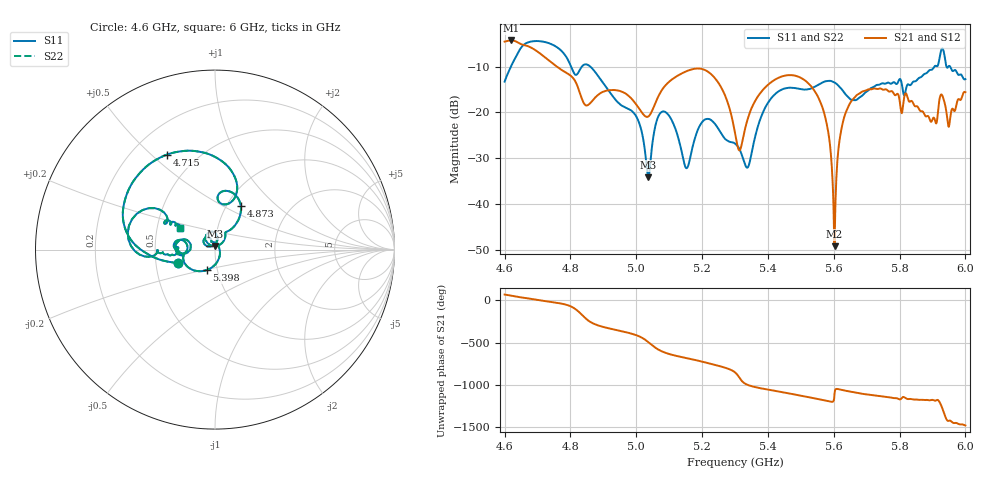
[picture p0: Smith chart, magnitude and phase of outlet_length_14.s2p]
! TOUCHSTONE file generated by CST MICROWAVE STUDIO
! Date and time: Mon Dec  2 04:50:26 2024
! Project name: test_tuning.cst
! Parameters = {airCoaxOuterDiameter=3; chamferAngle=45; chamferWidth=24; connectorLength=10; drillingHoleDiameter=4.1; feedLength=60; flareDiameter=130; flareLength=70; gratingDistance=0; gratingGap=1.90274; outletLength=110; polarizerLength=134; probe1Diameter=1.3; probe1Distance=14; probe1Length=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
! Header version: 2024
! Port assignment regex: !\s*Touchstone port\s*([0-9]+)\s*=\s*(CST MWS port|CST DES external port|CST DES block port)\s*(.+)\s* \(\"(.*)\"\)(\s*mode\s*([0-9]+))?.*
! Touchstone port assignment:
! Touchstone port 1 = CST MWS port 1 ("Input1")
! Touchstone port 2 = CST MWS port 2 ("Input2")
# GHz S MA R 50
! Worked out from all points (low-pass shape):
!   1001 points, 4.6 GHz to 6 GHz, reference 50 ohm
!   highest |S21| = -4.31 dB at 4.62 GHz (marker M1); lowest = -49.2 dB at 5.602 GHz (marker M2)
!   |S21| within 3 dB of the highest: start of sweep to 4.711 GHz
!   lowest |S11| = -34.2 dB at 5.037 GHz (marker M3), VSWR 1.04, Z = 49.9 + j1.95 ohm
!   |S11| at or under -10 dB: 4.802 GHz to 4.835 GHz (32.98 MHz wide, 0.684 % of centre); 4.86 GHz to 5.906 GHz (1.045 GHz wide, 19.4 % of centre); 5.954 GHz to end of sweep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
!   |S22| runs from -34.2 to -4.4 dB; largest |S21 - S12| = 7.8e-07
!   S11 on the Smith chart (normalised r, x): 4.6 GHz: 0.66, -0.10; 4.715 GHz: 0.34, +0.56; 4.873 GHz: 1.16, +0.61; 5.398 GHz: 0.89, -0.21; 6 GHz: 0.65, +0.16
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4.6  0.2164 -160.3  0.5909 66.1  0.5909 66.1  0.2164 -160.3
4.6196  0.3183 -170.3  0.6089 53.1  0.6089 53.1  0.3183 -170.3
4.7148  0.5931 116.7  0.42 -6.1  0.42 -6.1  0.5931 116.7
4.8338  0.3125 85.8  0.1438 -168.2  0.1438 -168.2  0.3125 85.8
4.873  0.2821 59.4  0.1425 78.8  0.1425 78.8  0.2821 59.4
5.0004  0.08994 50.8  0.1214 -53.4  0.1214 -53.4  0.08994 50.8
5.0368  0.01955 91.1  0.09035 -135.6  0.09035 -135.6  0.01955 91.2
5.0676  0.0915 123.6  0.151 136.8  0.151 136.8  0.0915 123.6
5.153  0.02464 117.5  0.2815 37.2  0.2815 37.2  0.02464 117.5
5.2104  0.08418 136.5  0.288 -14.2  0.288 -14.2  0.08418 136.5
5.3  0.04582 109.7  0.05973 -130.3  0.05973 -130.3  0.04582 109.7
5.3392  0.02524 6.9  0.0862 80.9  0.0862 80.9  0.02524 6.9
5.398  0.1236 -112.4  0.1967 27.9  0.1967 27.9  0.1236 -112.4
5.5338  0.1842 -169.5  0.1879 -70.8  0.1879 -70.8  0.1842 -169.5
5.5786  0.2196 179.4  0.07513 -107.0  0.07513 -107.0  0.2196 179.4
5.6024  0.2118 168.2  0.003483 -23.7  0.003483 -23.7  0.2118 168.2
5.6206  0.1849 162.1  0.05807 26.2  0.05807 26.2  0.1849 162.1
5.6458  0.1445 165.2  0.1188 5.7  0.1188 5.7  0.1445 165.2
5.7676  0.2103 178.1  0.169 -65.0  0.169 -65.0  0.2103 178.1
5.93  0.4975 164.5  0.1524 165.0  0.1524 165.0  0.4975 164.5
5.9496  0.3199 152.3  0.06966 19.2  0.06966 19.2  0.3199 152.3
6  0.2304 149.1  0.1661 -36.0  0.1661 -36.0  0.2304 149.1
